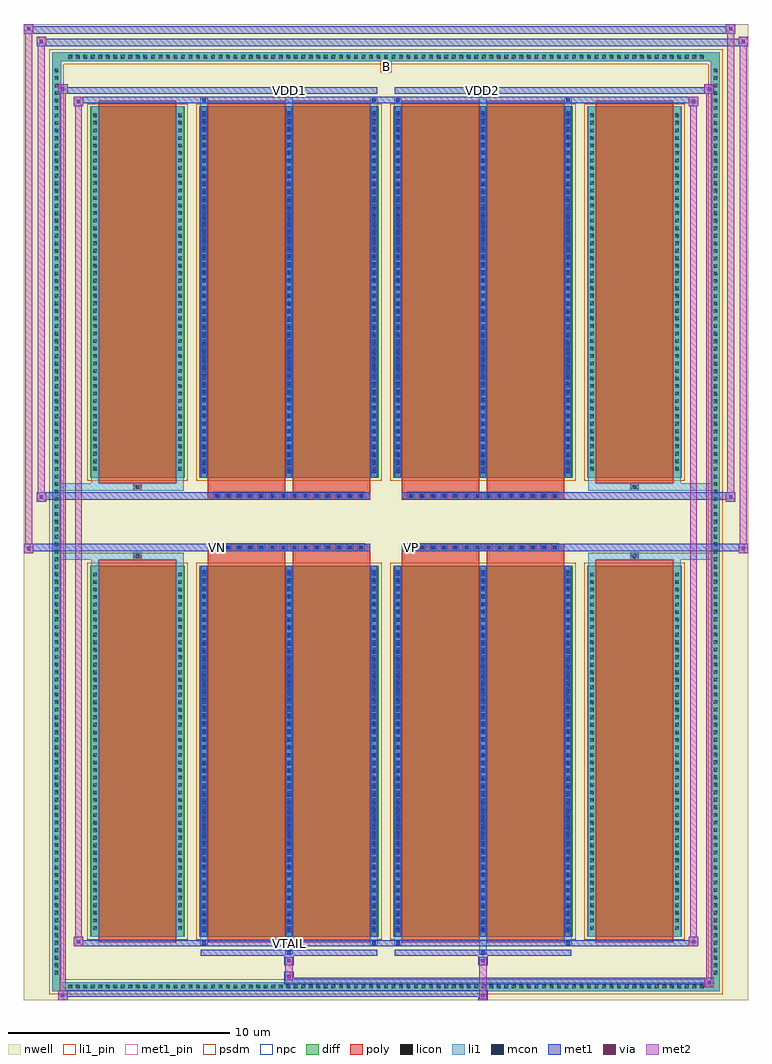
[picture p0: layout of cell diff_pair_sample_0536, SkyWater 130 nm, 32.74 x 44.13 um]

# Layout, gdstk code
import gdstk
lib = gdstk.Library(unit=1e-6, precision=5e-09)
def R(c, l, rs):  # rectangles x0, y0, x1, y1
    for r in rs: c.add(gdstk.rectangle(r[:2], r[2:], *l))
def A(c, l, x, y, w, h, nx, ny, dx, dy):  # array of equal rectangles
    R(c, l, [(x+i*dx, y+j*dy, x+i*dx+w, y+j*dy+h) for i in range(nx) for j in range(ny)])
def P(c, l, *ps):  # polygons
    for p in ps: c.add(gdstk.Polygon(p, *l))
nwell = (64, 20)
diff = (65, 20)
poly = (66, 20)
licon = (66, 44)
li1_pin = (67, 16)
li1 = (67, 20)
mcon = (67, 44)
met1_pin = (68, 16)
met1 = (68, 20)
via = (68, 44)
met2 = (69, 20)
psdm = (94, 20)
npc = (95, 20)

diff_pair_sample_0536 = lib.new_cell('diff_pair_sample_0536')
R(diff_pair_sample_0536, nwell, [(-16.37,-21.63,16.37,22.5), (-13.69,-19.82,-0.01,-0.8), (0.01,-19.82,13.69,-0.8), (-13.69,0.8,-0.01,19.82), (0.01,0.8,13.69,19.82)])
A(diff_pair_sample_0536, diff, -14.485, -21.23, 0.41, 0.41, 85, 2, 0.34, 42.05)
A(diff_pair_sample_0536, diff, -15.1, -20.605, 0.41, 0.41, 1, 121, 0, 0.34)
A(diff_pair_sample_0536, diff, 14.69, -20.605, 0.41, 0.41, 1, 121, 0, 0.34)
R(diff_pair_sample_0536, diff, [(-14.485,-21.23,14.485,-20.82), (-15.1,-20.605,-14.69,20.605), (14.69,-20.605,15.1,20.605), (-13.38,-18.775,-9.09,-1.985), (-8.45,-18.775,-0.32,-1.985), (0.32,-18.775,8.45,-1.985), (9.09,-18.775,13.38,-1.985), (-13.38,1.985,-9.09,18.775), (-8.45,1.985,-0.32,18.775), (0.32,1.985,8.45,18.775), (9.09,1.985,13.38,18.775), (-14.485,20.82,14.485,21.23)])
P(diff_pair_sample_0536, diff, [(15.1,21.23),(-15.1,21.23),(-15.1,-20.82),(-14.69,-20.82),(-14.69,20.82),(14.69,20.82),(14.69,-20.82),(-14.69,-20.82),(-15.1,-20.82),(-15.1,-21.23),(15.1,-21.23)])
A(diff_pair_sample_0536, poly, -7.8, -1.33, 0.33, 0.33, 14, 2, 0.5, 2.33)
A(diff_pair_sample_0536, poly, 0.97, -1.33, 0.33, 0.33, 14, 2, 0.5, 2.33)
R(diff_pair_sample_0536, poly, [(-12.99,-19.025,-9.48,-1.735), (-8.06,-19.025,-4.55,-1.735), (-4.22,-19.025,-0.71,-1.735), (0.71,-19.025,4.22,-1.735), (4.55,-19.025,8.06,-1.735), (9.48,-19.025,12.99,-1.735), (-11.4,-1.735,-11.07,-1.405), (-11.4,-1.735,-11.07,-1.405), (-8.06,-1.735,-4.55,-1.33), (-4.22,-1.735,-0.71,-1.33), (0.71,-1.735,4.22,-1.33), (4.55,-1.735,8.06,-1.33), (11.07,-1.735,11.4,-1.405), (11.07,-1.735,11.4,-1.405), (-8.06,-1.33,-0.71,-1), (0.71,-1.33,8.06,-1), (-8.06,1,-0.71,1.33), (0.71,1,8.06,1.33), (-8.06,1.33,-4.55,1.735), (-4.22,1.33,-0.71,1.735), (0.71,1.33,4.22,1.735), (4.55,1.33,8.06,1.735), (-11.4,1.405,-11.07,1.735), (-11.4,1.405,-11.07,1.735), (11.07,1.405,11.4,1.735), (11.07,1.405,11.4,1.735), (-12.99,1.735,-9.48,19.025), (-8.06,1.735,-4.55,19.025), (-4.22,1.735,-0.71,19.025), (0.71,1.735,4.22,19.025), (4.55,1.735,8.06,19.025), (9.48,1.735,12.99,19.025)])
A(diff_pair_sample_0536, licon, -14.365, -21.11, 0.17, 0.17, 85, 2, 0.34, 42.05)
A(diff_pair_sample_0536, licon, -14.98, -20.485, 0.17, 0.17, 1, 121, 0, 0.34)
A(diff_pair_sample_0536, licon, 14.81, -20.485, 0.17, 0.17, 1, 121, 0, 0.34)
A(diff_pair_sample_0536, licon, -13.24, -18.455, 0.17, 0.17, 1, 48, 0, 0.34)
A(diff_pair_sample_0536, licon, -9.4, -18.455, 0.17, 0.17, 1, 48, 0, 0.34)
A(diff_pair_sample_0536, licon, -8.31, -18.455, 0.17, 0.17, 3, 48, 3.84, 0.34)
A(diff_pair_sample_0536, licon, 0.46, -18.455, 0.17, 0.17, 3, 48, 3.84, 0.34)
A(diff_pair_sample_0536, licon, 9.23, -18.455, 0.17, 0.17, 1, 48, 0, 0.34)
A(diff_pair_sample_0536, licon, 13.07, -18.455, 0.17, 0.17, 1, 48, 0, 0.34)
A(diff_pair_sample_0536, licon, -7.72, -1.25, 0.17, 0.17, 14, 2, 0.5, 2.33)
A(diff_pair_sample_0536, licon, 1.05, -1.25, 0.17, 0.17, 14, 2, 0.5, 2.33)
A(diff_pair_sample_0536, licon, -13.24, 2.305, 0.17, 0.17, 1, 48, 0, 0.34)
A(diff_pair_sample_0536, licon, -9.4, 2.305, 0.17, 0.17, 1, 48, 0, 0.34)
A(diff_pair_sample_0536, licon, -8.31, 2.305, 0.17, 0.17, 3, 48, 3.84, 0.34)
A(diff_pair_sample_0536, licon, 0.46, 2.305, 0.17, 0.17, 3, 48, 3.84, 0.34)
A(diff_pair_sample_0536, licon, 9.23, 2.305, 0.17, 0.17, 1, 48, 0, 0.34)
A(diff_pair_sample_0536, licon, 13.07, 2.305, 0.17, 0.17, 1, 48, 0, 0.34)
R(diff_pair_sample_0536, licon, [(-11.32,-1.655,-11.15,-1.485), (11.15,-1.655,11.32,-1.485), (-11.32,1.485,-11.15,1.655), (11.15,1.485,11.32,1.655)])
R(diff_pair_sample_0536, li1_pin, [(-0.25,20.32,0.25,20.82)])
A(diff_pair_sample_0536, li1, -14.445, -21.19, 0.33, 0.33, 85, 2, 0.34, 42.05)
A(diff_pair_sample_0536, li1, -15.06, -20.565, 0.33, 0.33, 1, 121, 0, 0.34)
A(diff_pair_sample_0536, li1, 14.73, -20.565, 0.33, 0.33, 1, 121, 0, 0.34)
A(diff_pair_sample_0536, li1, -8.39, -18.775, 0.33, 16.79, 3, 2, 3.84, 20.76)
A(diff_pair_sample_0536, li1, 0.38, -18.775, 0.33, 16.79, 3, 2, 3.84, 20.76)
A(diff_pair_sample_0536, li1, -8.31, -18.565, 0.17, 0.17, 3, 46, 3.84, 0.36)
A(diff_pair_sample_0536, li1, -8.31, -18.565, 0.17, 16.37, 3, 2, 3.84, 20.76)
A(diff_pair_sample_0536, li1, 0.46, -18.565, 0.17, 0.17, 3, 46, 3.84, 0.36)
A(diff_pair_sample_0536, li1, 0.46, -18.565, 0.17, 16.37, 3, 2, 3.84, 20.76)
A(diff_pair_sample_0536, li1, -13.32, -18.535, 0.33, 0.33, 1, 48, 0, 0.34)
A(diff_pair_sample_0536, li1, -9.48, -18.535, 0.33, 0.33, 1, 48, 0, 0.34)
A(diff_pair_sample_0536, li1, -8.39, -18.535, 0.33, 0.33, 3, 48, 3.84, 0.34)
A(diff_pair_sample_0536, li1, 0.38, -18.535, 0.33, 0.33, 3, 48, 3.84, 0.34)
A(diff_pair_sample_0536, li1, 9.15, -18.535, 0.33, 0.33, 1, 48, 0, 0.34)
A(diff_pair_sample_0536, li1, 12.99, -18.535, 0.33, 0.33, 1, 48, 0, 0.34)
A(diff_pair_sample_0536, li1, -7.8, -1.33, 0.33, 0.33, 14, 2, 0.5, 2.33)
A(diff_pair_sample_0536, li1, 0.97, -1.33, 0.33, 0.33, 14, 2, 0.5, 2.33)
A(diff_pair_sample_0536, li1, -8.31, 2.195, 0.17, 0.17, 3, 46, 3.84, 0.36)
A(diff_pair_sample_0536, li1, 0.46, 2.195, 0.17, 0.17, 3, 46, 3.84, 0.36)
A(diff_pair_sample_0536, li1, -13.32, 2.225, 0.33, 0.33, 1, 48, 0, 0.34)
A(diff_pair_sample_0536, li1, -9.48, 2.225, 0.33, 0.33, 1, 48, 0, 0.34)
A(diff_pair_sample_0536, li1, -8.39, 2.225, 0.33, 0.33, 3, 48, 3.84, 0.34)
A(diff_pair_sample_0536, li1, 0.38, 2.225, 0.33, 0.33, 3, 48, 3.84, 0.34)
A(diff_pair_sample_0536, li1, 9.15, 2.225, 0.33, 0.33, 1, 48, 0, 0.34)
A(diff_pair_sample_0536, li1, 12.99, 2.225, 0.33, 0.33, 1, 48, 0, 0.34)
R(diff_pair_sample_0536, li1, [(-15.1,-21.23,-14.69,-20.82), (-15.1,-21.23,-14.69,-20.82), (-14.69,-21.23,14.69,-20.82), (14.69,-21.23,15.1,-20.82), (14.69,-21.23,15.1,-20.82), (-15.1,-20.82,-14.69,20.82), (14.69,-20.82,15.1,20.82), (-4.55,-19.58,-4.22,-18.775), (-4.47,-19.58,-4.3,-19.41), (4.22,-19.58,4.55,-18.775), (4.3,-19.58,4.47,-19.41), (-8.39,-19.15,-8.06,-18.775), (-8.31,-19.15,-8.14,-18.98), (-0.71,-19.15,-0.38,-18.775), (-0.63,-19.15,-0.46,-18.98), (0.38,-19.15,0.71,-18.775), (0.46,-19.15,0.63,-18.98), (8.06,-19.15,8.39,-18.775), (8.14,-19.15,8.31,-18.98), (-13.32,-18.775,-12.99,-1.985), (-9.48,-18.775,-9.15,-1.985), (9.15,-18.775,9.48,-1.985), (12.99,-18.775,13.32,-1.985), (-13.32,-1.985,-12.99,-1.405), (-9.48,-1.985,-9.15,-1.405), (9.15,-1.985,9.48,-1.405), (12.99,-1.985,13.32,-1.405), (-15.1,-1.735,-11.4,-1.405), (-13.32,-1.735,-11.4,-1.405), (-11.4,-1.735,-11.07,-1.405), (-11.07,-1.735,-9.15,-1.405), (9.15,-1.735,11.07,-1.405), (11.07,-1.735,11.4,-1.405), (11.07,-1.735,15.1,-1.405), (11.4,-1.735,13.32,-1.405), (-15.1,1.405,-11.4,1.735), (-13.32,1.405,-11.4,1.735), (-13.32,1.405,-12.99,1.985), (-11.4,1.405,-11.07,1.735), (-11.07,1.405,-9.15,1.735), (-9.48,1.405,-9.15,1.985), (9.15,1.405,11.07,1.735), (9.15,1.405,9.48,1.985), (11.07,1.405,11.4,1.735), (11.07,1.405,15.1,1.735), (11.4,1.405,13.32,1.735), (12.99,1.405,13.32,1.985), (-13.32,1.985,-12.99,18.775), (-9.48,1.985,-9.15,18.775), (9.15,1.985,9.48,18.775), (12.99,1.985,13.32,18.775), (-8.39,18.775,-8.06,19.15), (-4.55,18.775,-4.22,19.58), (-0.71,18.775,-0.38,19.15), (0.38,18.775,0.71,19.15), (4.22,18.775,4.55,19.58), (8.06,18.775,8.39,19.15), (-8.31,18.98,-8.14,19.15), (-0.63,18.98,-0.46,19.15), (0.46,18.98,0.63,19.15), (8.14,18.98,8.31,19.15), (-4.47,19.41,-4.3,19.58), (4.3,19.41,4.47,19.58), (-15.1,20.82,-14.69,21.23), (-15.1,20.82,-14.69,21.23), (-14.69,20.82,14.69,21.23), (14.69,20.82,15.1,21.23), (14.69,20.82,15.1,21.23)])
A(diff_pair_sample_0536, mcon, -8.31, -18.565, 0.17, 0.17, 3, 46, 3.84, 0.36)
A(diff_pair_sample_0536, mcon, 0.46, -18.565, 0.17, 0.17, 3, 46, 3.84, 0.36)
A(diff_pair_sample_0536, mcon, -7.72, -1.25, 0.17, 0.17, 14, 2, 0.5, 2.33)
A(diff_pair_sample_0536, mcon, 1.05, -1.25, 0.17, 0.17, 14, 2, 0.5, 2.33)
A(diff_pair_sample_0536, mcon, -8.31, 2.195, 0.17, 0.17, 3, 46, 3.84, 0.36)
A(diff_pair_sample_0536, mcon, 0.46, 2.195, 0.17, 0.17, 3, 46, 3.84, 0.36)
R(diff_pair_sample_0536, mcon, [(-4.47,-19.58,-4.3,-19.41), (4.3,-19.58,4.47,-19.41), (-8.31,-19.15,-8.14,-18.98), (-0.63,-19.15,-0.46,-18.98), (0.46,-19.15,0.63,-18.98), (8.14,-19.15,8.31,-18.98), (-8.31,18.98,-8.14,19.15), (-0.63,18.98,-0.46,19.15), (0.46,18.98,0.63,19.15), (8.14,18.98,8.31,19.15), (-4.47,19.41,-4.3,19.58), (4.3,19.41,4.47,19.58)])
R(diff_pair_sample_0536, met1_pin, [(-4.52,-19.19,-4.25,-18.92), (-7.77,-1.29,-7.5,-1.02), (1,-1.29,1.27,-1.02), (-4.52,19.37,-4.25,19.64), (4.25,19.37,4.52,19.64)])
A(diff_pair_sample_0536, met1, -8.37, -18.775, 0.29, 16.79, 3, 2, 3.84, 20.76)
A(diff_pair_sample_0536, met1, 0.4, -18.775, 0.29, 16.79, 3, 2, 3.84, 20.76)
A(diff_pair_sample_0536, met1, -8.37, -18.625, 0.29, 0.29, 3, 46, 3.84, 0.36)
A(diff_pair_sample_0536, met1, 0.4, -18.625, 0.29, 0.29, 3, 46, 3.84, 0.36)
A(diff_pair_sample_0536, met1, -7.78, -1.31, 0.29, 0.29, 14, 2, 0.5, 2.33)
A(diff_pair_sample_0536, met1, 0.99, -1.31, 0.29, 0.29, 14, 2, 0.5, 2.33)
A(diff_pair_sample_0536, met1, -8.37, 2.135, 0.29, 0.29, 3, 46, 3.84, 0.36)
A(diff_pair_sample_0536, met1, 0.4, 2.135, 0.29, 0.29, 3, 46, 3.84, 0.36)
R(diff_pair_sample_0536, met1, [(-14.83,-21.63,-14.4,-21.2), (4.17,-21.63,4.6,-21.2), (-14.83,-21.49,4.6,-21.2), (14.4,-21.06,14.83,-20.63), (-4.6,-20.92,14.83,-20.63), (-4.6,-20.78,-4.17,-20.35), (-4.6,-20.07,-4.17,-19.64), (4.17,-20.07,4.6,-19.64), (-8.37,-19.64,-0.4,-19.35), (-4.53,-19.64,-4.24,-19.35), (0.4,-19.64,8.37,-19.35), (4.24,-19.64,4.53,-19.35), (-14.12,-19.21,-13.69,-18.78), (-14.12,-19.21,-8.37,-18.92), (-8.37,-19.21,-8.08,-18.92), (-8.37,-19.21,-0.4,-18.92), (-0.69,-19.21,-0.4,-18.92), (-0.4,-19.21,0.4,-18.92), (0.4,-19.21,0.69,-18.92), (0.4,-19.21,8.37,-18.92), (8.08,-19.21,8.37,-18.92), (8.37,-19.21,14.12,-18.92), (13.69,-19.21,14.12,-18.78), (-16.37,-1.43,-15.94,-1), (15.94,-1.43,16.37,-1), (-16.37,-1.33,-0.71,-1), (-8.06,-1.33,-0.71,-1), (0.71,-1.33,8.06,-1), (0.71,-1.33,16.37,-1), (-15.8,0.9,-15.37,1.33), (15.37,0.9,15.8,1.33), (-15.8,1,-8.06,1.33), (-8.06,1,-0.71,1.33), (0.71,1,8.06,1.33), (8.06,1,15.8,1.33), (-14.12,18.78,-13.69,19.21), (13.69,18.78,14.12,19.21), (-14.12,18.92,-8.37,19.21), (-8.37,18.92,-8.08,19.21), (-8.37,18.92,-0.4,19.21), (-0.69,18.92,-0.4,19.21), (-0.4,18.92,0.4,19.21), (0.4,18.92,0.69,19.21), (0.4,18.92,8.37,19.21), (8.08,18.92,8.37,19.21), (8.37,18.92,14.12,19.21), (-14.83,19.35,-14.4,19.78), (-14.83,19.35,-8.37,19.64), (-8.37,19.35,-0.4,19.64), (-4.53,19.35,-4.24,19.64), (0.4,19.35,8.37,19.64), (4.24,19.35,4.53,19.64), (8.37,19.35,14.83,19.64), (14.4,19.35,14.83,19.78), (-15.8,21.5,-15.37,21.93), (-15.8,21.5,-13.69,21.83), (-13.69,21.5,13.69,21.83), (13.69,21.5,16.37,21.83), (15.94,21.5,16.37,21.93), (-16.37,22.07,-15.94,22.5), (-16.37,22.07,-13.69,22.4), (-13.69,22.07,13.69,22.4), (13.69,22.07,15.8,22.4), (15.37,22.07,15.8,22.5)])
R(diff_pair_sample_0536, via, [(-14.69,-21.49,-14.54,-21.34), (4.31,-21.49,4.46,-21.34), (14.54,-20.92,14.69,-20.77), (-4.46,-20.64,-4.31,-20.49), (-4.46,-19.93,-4.31,-19.78), (4.31,-19.93,4.46,-19.78), (-13.98,-19.07,-13.83,-18.92), (13.83,-19.07,13.98,-18.92), (-16.23,-1.29,-16.08,-1.14), (16.08,-1.29,16.23,-1.14), (-15.66,1.04,-15.51,1.19), (15.51,1.04,15.66,1.19), (-13.98,18.92,-13.83,19.07), (13.83,18.92,13.98,19.07), (-14.69,19.49,-14.54,19.64), (14.54,19.49,14.69,19.64), (-15.66,21.64,-15.51,21.79), (16.08,21.64,16.23,21.79), (-16.23,22.21,-16.08,22.36), (15.51,22.21,15.66,22.36)])
R(diff_pair_sample_0536, met2, [(-14.83,-21.63,-14.4,-21.2), (-14.76,-21.63,-14.47,19.78), (-14.47,-21.63,-14.4,-21.2), (-14.78,-21.58,-14.45,-21.25), (4.22,-21.58,4.55,-21.25), (4.22,-21.25,4.55,-20.02), (14.4,-21.06,14.83,-20.63), (14.47,-21.06,14.76,19.78), (14.76,-21.06,14.83,-20.63), (14.45,-21.01,14.78,-20.68), (-4.55,-20.73,-4.22,-20.4), (-4.55,-20.4,-4.22,-20.02), (-4.55,-20.02,-4.22,-19.69), (4.22,-20.02,4.55,-19.69), (-14.12,-19.21,-13.69,-18.78), (-14.05,-19.21,-13.76,19.21), (-13.76,-19.21,-13.69,-18.78), (13.69,-19.21,14.12,-18.78), (13.76,-19.21,14.05,19.21), (14.05,-19.21,14.12,-18.78), (-14.07,-19.16,-13.74,-18.83), (13.74,-19.16,14.07,-18.83), (-16.37,-1.43,-15.94,-1), (-16.32,-1.43,-15.99,22.5), (-15.99,-1.43,-15.94,-1), (15.94,-1.43,16.37,-1), (15.99,-1.43,16.32,21.93), (16.32,-1.43,16.37,-1), (-16.32,-1.38,-15.99,-1.05), (15.99,-1.38,16.32,-1.05), (-15.8,0.9,-15.37,1.33), (-15.75,0.9,-15.42,21.93), (-15.42,0.9,-15.37,1.33), (15.37,0.9,15.8,1.33), (15.42,0.9,15.75,22.5), (15.75,0.9,15.8,1.33), (-15.75,0.95,-15.42,1.28), (15.42,0.95,15.75,1.28), (-14.12,18.78,-13.69,19.21), (-13.76,18.78,-13.69,19.21), (13.69,18.78,14.12,19.21), (14.05,18.78,14.12,19.21), (-14.07,18.83,-13.74,19.16), (13.74,18.83,14.07,19.16), (-14.83,19.35,-14.4,19.78), (-14.47,19.35,-14.4,19.78), (14.4,19.35,14.83,19.78), (14.76,19.35,14.83,19.78), (-14.78,19.4,-14.45,19.73), (14.45,19.4,14.78,19.73), (-15.8,21.5,-15.37,21.93), (-15.42,21.5,-15.37,21.93), (15.94,21.5,16.37,21.93), (16.32,21.5,16.37,21.93), (-15.75,21.55,-15.42,21.88), (15.99,21.55,16.32,21.88), (-16.37,22.07,-15.94,22.5), (-15.99,22.07,-15.94,22.5), (15.37,22.07,15.8,22.5), (15.75,22.07,15.8,22.5), (-16.32,22.12,-15.99,22.45), (15.42,22.12,15.75,22.45)])
R(diff_pair_sample_0536, psdm, [(-13.51,-18.905,-8.96,-1.855), (-8.58,-18.905,-0.19,-1.855), (0.19,-18.905,8.58,-1.855), (8.96,-18.905,13.51,-1.855), (-13.51,1.855,-8.96,18.905), (-8.58,1.855,-0.19,18.905), (0.19,1.855,8.58,18.905), (8.96,1.855,13.51,18.905)])
P(diff_pair_sample_0536, psdm, [(15.23,21.36),(-15.23,21.36),(-15.23,-20.69),(-14.56,-20.69),(-14.56,20.69),(14.56,20.69),(14.56,-20.69),(-14.56,-20.69),(-15.23,-20.69),(-15.23,-21.36),(15.23,-21.36)])
A(diff_pair_sample_0536, npc, -7.82, -1.35, 0.37, 0.37, 14, 2, 0.5, 2.33)
A(diff_pair_sample_0536, npc, 0.95, -1.35, 0.37, 0.37, 14, 2, 0.5, 2.33)
R(diff_pair_sample_0536, npc, [(-11.42,-1.755,-11.05,-1.385), (11.05,-1.755,11.42,-1.385), (-7.82,-1.35,-6.95,-0.98), (-7.82,-1.35,-6.95,-0.98), (-7.32,-1.35,-6.45,-0.98), (-7.32,-1.35,-6.45,-0.98), (-6.82,-1.35,-5.95,-0.98), (-6.82,-1.35,-5.95,-0.98), (-6.32,-1.35,-5.45,-0.98), (-6.32,-1.35,-5.45,-0.98), (-5.82,-1.35,-4.95,-0.98), (-5.82,-1.35,-4.95,-0.98), (-5.32,-1.35,-4.45,-0.98), (-5.32,-1.35,-4.45,-0.98), (-4.82,-1.35,-3.95,-0.98), (-4.82,-1.35,-3.95,-0.98), (-4.32,-1.35,-3.45,-0.98), (-4.32,-1.35,-3.45,-0.98), (-3.82,-1.35,-2.95,-0.98), (-3.82,-1.35,-2.95,-0.98), (-3.32,-1.35,-2.45,-0.98), (-3.32,-1.35,-2.45,-0.98), (-2.82,-1.35,-1.95,-0.98), (-2.82,-1.35,-1.95,-0.98), (-2.32,-1.35,-1.45,-0.98), (-2.32,-1.35,-1.45,-0.98), (-1.82,-1.35,-0.95,-0.98), (-1.82,-1.35,-0.95,-0.98), (0.95,-1.35,1.82,-0.98), (0.95,-1.35,1.82,-0.98), (1.45,-1.35,2.32,-0.98), (1.45,-1.35,2.32,-0.98), (1.95,-1.35,2.82,-0.98), (1.95,-1.35,2.82,-0.98), (2.45,-1.35,3.32,-0.98), (2.45,-1.35,3.32,-0.98), (2.95,-1.35,3.82,-0.98), (2.95,-1.35,3.82,-0.98), (3.45,-1.35,4.32,-0.98), (3.45,-1.35,4.32,-0.98), (3.95,-1.35,4.82,-0.98), (3.95,-1.35,4.82,-0.98), (4.45,-1.35,5.32,-0.98), (4.45,-1.35,5.32,-0.98), (4.95,-1.35,5.82,-0.98), (4.95,-1.35,5.82,-0.98), (5.45,-1.35,6.32,-0.98), (5.45,-1.35,6.32,-0.98), (5.95,-1.35,6.82,-0.98), (5.95,-1.35,6.82,-0.98), (6.45,-1.35,7.32,-0.98), (6.45,-1.35,7.32,-0.98), (6.95,-1.35,7.82,-0.98), (6.95,-1.35,7.82,-0.98), (-7.82,0.98,-6.95,1.35), (-7.82,0.98,-6.95,1.35), (-7.32,0.98,-6.45,1.35), (-7.32,0.98,-6.45,1.35), (-6.82,0.98,-5.95,1.35), (-6.82,0.98,-5.95,1.35), (-6.32,0.98,-5.45,1.35), (-6.32,0.98,-5.45,1.35), (-5.82,0.98,-4.95,1.35), (-5.82,0.98,-4.95,1.35), (-5.32,0.98,-4.45,1.35), (-5.32,0.98,-4.45,1.35), (-4.82,0.98,-3.95,1.35), (-4.82,0.98,-3.95,1.35), (-4.32,0.98,-3.45,1.35), (-4.32,0.98,-3.45,1.35), (-3.82,0.98,-2.95,1.35), (-3.82,0.98,-2.95,1.35), (-3.32,0.98,-2.45,1.35), (-3.32,0.98,-2.45,1.35), (-2.82,0.98,-1.95,1.35), (-2.82,0.98,-1.95,1.35), (-2.32,0.98,-1.45,1.35), (-2.32,0.98,-1.45,1.35), (-1.82,0.98,-0.95,1.35), (-1.82,0.98,-0.95,1.35), (0.95,0.98,1.82,1.35), (0.95,0.98,1.82,1.35), (1.45,0.98,2.32,1.35), (1.45,0.98,2.32,1.35), (1.95,0.98,2.82,1.35), (1.95,0.98,2.82,1.35), (2.45,0.98,3.32,1.35), (2.45,0.98,3.32,1.35), (2.95,0.98,3.82,1.35), (2.95,0.98,3.82,1.35), (3.45,0.98,4.32,1.35), (3.45,0.98,4.32,1.35), (3.95,0.98,4.82,1.35), (3.95,0.98,4.82,1.35), (4.45,0.98,5.32,1.35), (4.45,0.98,5.32,1.35), (4.95,0.98,5.82,1.35), (4.95,0.98,5.82,1.35), (5.45,0.98,6.32,1.35), (5.45,0.98,6.32,1.35), (5.95,0.98,6.82,1.35), (5.95,0.98,6.82,1.35), (6.45,0.98,7.32,1.35), (6.45,0.98,7.32,1.35), (6.95,0.98,7.82,1.35), (6.95,0.98,7.82,1.35), (-11.42,1.385,-11.05,1.755), (11.05,1.385,11.42,1.755)])
diff_pair_sample_0536.add(gdstk.Label('VTAIL', (-4.385,-19.055), layer=68, texttype=5))
diff_pair_sample_0536.add(gdstk.Label('VN', (-7.635,-1.155), layer=68, texttype=5))
diff_pair_sample_0536.add(gdstk.Label('VP', (1.135,-1.155), layer=68, texttype=5))
diff_pair_sample_0536.add(gdstk.Label('B', (0,20.57), layer=67, texttype=5))
diff_pair_sample_0536.add(gdstk.Label('VDD2', (4.385,19.505), layer=68, texttype=5))
diff_pair_sample_0536.add(gdstk.Label('VDD1', (-4.385,19.505), layer=68, texttype=5))

lib.write_gds('diff_pair_sample_0536.gds')
